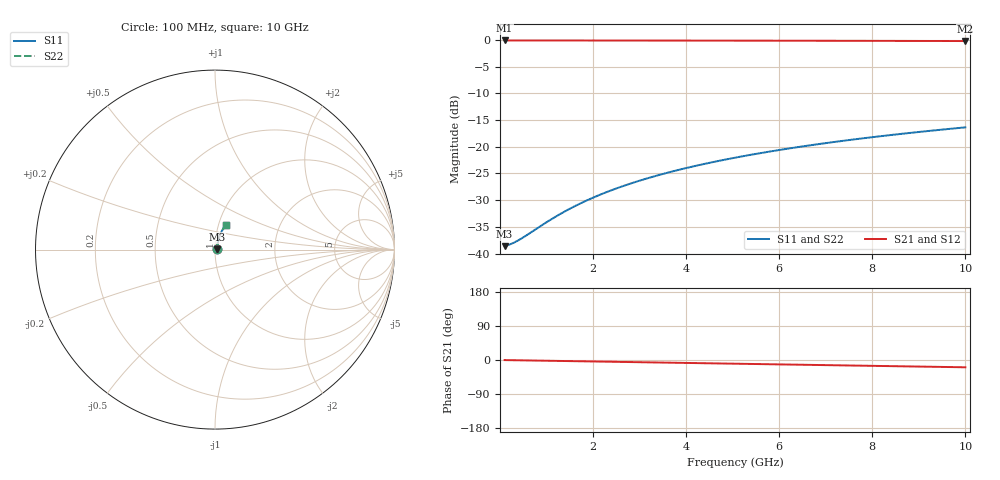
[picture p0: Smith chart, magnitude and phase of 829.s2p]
# Hz S RI R 50.00
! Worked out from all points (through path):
!   100 points, 100 MHz to 10 GHz, reference 50 ohm
!   highest |S21| = -0.10 dB at 100 MHz (marker M1); lowest = -0.2 dB at 10 GHz (marker M2)
!   group delay of S21, straight-line fit = 5.35 ps
!   lowest |S11| = -38.6 dB at 100 MHz (marker M3), VSWR 1.02, Z = 51.2 + j0.155 ohm
!   |S11| at or under -10 dB: start of sweep to end of sweep
!   |S22| runs from -38.6 to -16.4 dB; largest |S21 - S12| = 0
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1e8  0.0116 0.00152  0.9884 -0.00334  0.9884 -0.00334  0.0116 0.00152
2e8  0.0117 0.00303  0.9883 -0.00669  0.9883 -0.00669  0.0117 0.00303
3e8  0.0118 0.00455  0.9882 -0.01  0.9882 -0.01  0.0118 0.00455
4e8  0.0119 0.00606  0.9881 -0.0134  0.9881 -0.0134  0.0119 0.00606
6e8  0.012 0.00909  0.9879 -0.0201  0.9879 -0.0201  0.012 0.00909
1e9  0.0125 0.0151  0.9873 -0.0334  0.9873 -0.0334  0.0125 0.0151
1.2e9  0.0128 0.0181  0.987 -0.0401  0.987 -0.0401  0.0128 0.0181
1.5e9  0.0132 0.0227  0.9864 -0.0501  0.9864 -0.0501  0.0132 0.0227
1.8e9  0.0138 0.0272  0.9856 -0.0601  0.9856 -0.0601  0.0138 0.0272
2.1e9  0.0144 0.0317  0.9848 -0.07  0.9848 -0.07  0.0144 0.0317
2.5e9  0.0154 0.0376  0.9835 -0.0833  0.9835 -0.0833  0.0154 0.0376
2.9e9  0.0166 0.0436  0.982 -0.0966  0.982 -0.0966  0.0166 0.0436
3.4e9  0.0182 0.0509  0.9798 -0.1131  0.9798 -0.1131  0.0182 0.0509
3.8e9  0.0197 0.0568  0.9778 -0.1262  0.9778 -0.1262  0.0197 0.0568
4.2e9  0.0214 0.0626  0.9756 -0.1393  0.9756 -0.1393  0.0214 0.0626
4.6e9  0.0232 0.0683  0.9732 -0.1524  0.9732 -0.1524  0.0232 0.0683
5.1e9  0.0257 0.0754  0.9699 -0.1686  0.9699 -0.1686  0.0257 0.0754
5.9e9  0.0301 0.0866  0.9639 -0.1944  0.9639 -0.1944  0.0301 0.0866
6.7e9  0.0352 0.0975  0.9572 -0.2199  0.9572 -0.2199  0.0352 0.0975
7.5e9  0.0407 0.108  0.9496 -0.2451  0.9496 -0.2451  0.0407 0.108
8.4e9  0.0477 0.1195  0.9403 -0.273  0.9403 -0.273  0.0477 0.1195
1e10  0.0616 0.1387  0.9213 -0.3214  0.9213 -0.3214  0.0616 0.1387
